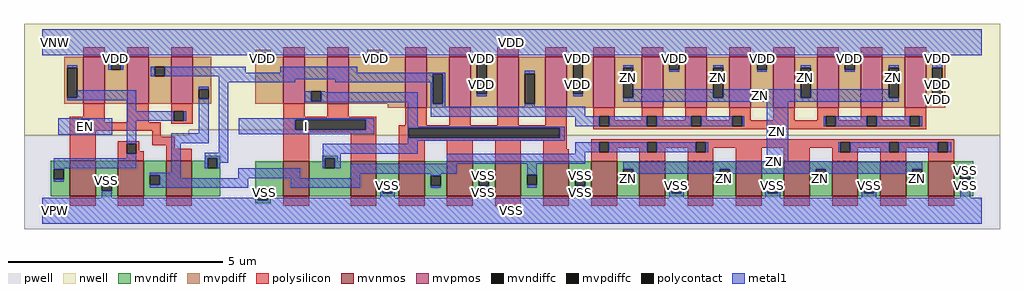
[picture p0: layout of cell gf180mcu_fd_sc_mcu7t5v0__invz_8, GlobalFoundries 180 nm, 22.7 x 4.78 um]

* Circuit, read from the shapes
.subckt gf180mcu_fd_sc_mcu7t5v0__invz_8 EN I ZN VDD VNW VPW VSS
XM1 VSS EN n1 VPW nfet_06v0 w=0.82u l=0.6u
XM2 n2 n1 VSS VPW nfet_06v0 w=0.82u l=0.6u
XM3 n3 EN n2 VPW nfet_06v0 w=0.82u l=0.6u
XM4 n4 I VSS VPW nfet_06v0 w=0.815u l=0.6u m=2
XM5 n2 n4 VSS VPW nfet_06v0 w=0.815u l=0.6u m=4
XM6 ZN n2 VSS VPW nfet_06v0 w=0.815u l=0.6u m=8
XM7 VDD EN n1 VNW pfet_06v0 w=1.095u l=0.5u
XM8 n3 EN VDD VNW pfet_06v0 w=1.095u l=0.5u
XM9 n2 n1 n3 VNW pfet_06v0 w=1.095u l=0.5u
XM10 n4 I VDD VNW pfet_06v0 w=1.095u l=0.5u m=2
XM11 n3 n4 VDD VNW pfet_06v0 w=1.18u l=0.5u m=4
XM12 ZN n3 VDD VNW pfet_06v0 w=1.18u l=0.5u m=8
.ends

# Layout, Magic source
magic
tech gf180mcuD
magscale 1 10
<< nwell >>
rect -86 377 4454 870
rect -86 352 681 377
rect 1447 352 4454 377
<< pwell >>
rect 681 352 1447 377
rect -86 -86 4454 352
<< mvnmos >>
rect 127 68 247 232
rect 351 68 471 232
rect 575 68 695 232
rect 1121 68 1241 231
rect 1433 68 1553 231
rect 1657 68 1777 231
rect 1881 68 2001 231
rect 2105 68 2225 231
rect 2329 68 2449 231
rect 2553 68 2673 231
rect 2777 68 2897 231
rect 3001 68 3121 231
rect 3225 68 3345 231
rect 3449 68 3569 231
rect 3673 68 3793 231
rect 3897 68 4017 231
rect 4121 68 4241 231
<< mvpmos >>
rect 190 497 290 716
rect 394 497 494 716
rect 598 497 698 716
rect 1121 497 1221 716
rect 1325 497 1425 716
rect 1687 480 1787 716
rect 1891 480 1991 716
rect 2115 480 2215 716
rect 2339 480 2439 716
rect 2563 480 2663 716
rect 2787 480 2887 716
rect 2991 480 3091 716
rect 3195 480 3295 716
rect 3399 480 3499 716
rect 3603 480 3703 716
rect 3807 480 3907 716
rect 4011 480 4111 716
<< mvndiff >>
rect 755 244 827 257
rect 755 232 768 244
rect 39 192 127 232
rect 39 146 52 192
rect 98 146 127 192
rect 39 68 127 146
rect 247 139 351 232
rect 247 93 276 139
rect 322 93 351 139
rect 247 68 351 93
rect 471 166 575 232
rect 471 120 500 166
rect 546 120 575 166
rect 471 68 575 120
rect 695 198 768 232
rect 814 198 827 244
rect 1301 244 1373 257
rect 1301 231 1314 244
rect 695 68 827 198
rect 989 95 1121 231
rect 989 49 1002 95
rect 1048 68 1121 95
rect 1241 198 1314 231
rect 1360 231 1373 244
rect 1360 198 1433 231
rect 1241 68 1433 198
rect 1553 127 1657 231
rect 1553 81 1582 127
rect 1628 81 1657 127
rect 1553 68 1657 81
rect 1777 163 1881 231
rect 1777 117 1806 163
rect 1852 117 1881 163
rect 1777 68 1881 117
rect 2001 162 2105 231
rect 2001 116 2030 162
rect 2076 116 2105 162
rect 2001 68 2105 116
rect 2225 167 2329 231
rect 2225 121 2254 167
rect 2300 121 2329 167
rect 2225 68 2329 121
rect 2449 162 2553 231
rect 2449 116 2478 162
rect 2524 116 2553 162
rect 2449 68 2553 116
rect 2673 192 2777 231
rect 2673 146 2702 192
rect 2748 146 2777 192
rect 2673 68 2777 146
rect 2897 127 3001 231
rect 2897 81 2926 127
rect 2972 81 3001 127
rect 2897 68 3001 81
rect 3121 192 3225 231
rect 3121 146 3150 192
rect 3196 146 3225 192
rect 3121 68 3225 146
rect 3345 127 3449 231
rect 3345 81 3374 127
rect 3420 81 3449 127
rect 3345 68 3449 81
rect 3569 192 3673 231
rect 3569 146 3598 192
rect 3644 146 3673 192
rect 3569 68 3673 146
rect 3793 127 3897 231
rect 3793 81 3822 127
rect 3868 81 3897 127
rect 3793 68 3897 81
rect 4017 192 4121 231
rect 4017 146 4046 192
rect 4092 146 4121 192
rect 4017 68 4121 146
rect 4241 192 4329 231
rect 4241 146 4270 192
rect 4316 146 4329 192
rect 4241 68 4329 146
rect 1048 49 1061 68
rect 989 36 1061 49
<< mvpdiff >>
rect 989 735 1061 748
rect 102 665 190 716
rect 102 525 115 665
rect 161 525 190 665
rect 102 497 190 525
rect 290 703 394 716
rect 290 657 319 703
rect 365 657 394 703
rect 290 497 394 657
rect 494 671 598 716
rect 494 625 523 671
rect 569 625 598 671
rect 494 497 598 625
rect 698 566 786 716
rect 698 520 727 566
rect 773 520 786 566
rect 698 497 786 520
rect 989 689 1002 735
rect 1048 716 1061 735
rect 1511 735 1583 748
rect 1511 716 1524 735
rect 1048 689 1121 716
rect 989 497 1121 689
rect 1221 556 1325 716
rect 1221 510 1250 556
rect 1296 510 1325 556
rect 1221 497 1325 510
rect 1425 689 1524 716
rect 1570 716 1583 735
rect 1570 689 1687 716
rect 1425 497 1687 689
rect 1607 480 1687 497
rect 1787 638 1891 716
rect 1787 498 1816 638
rect 1862 498 1891 638
rect 1787 480 1891 498
rect 1991 684 2115 716
rect 1991 544 2020 684
rect 2066 544 2115 684
rect 1991 480 2115 544
rect 2215 638 2339 716
rect 2215 498 2244 638
rect 2290 498 2339 638
rect 2215 480 2339 498
rect 2439 684 2563 716
rect 2439 544 2468 684
rect 2514 544 2563 684
rect 2439 480 2563 544
rect 2663 665 2787 716
rect 2663 525 2702 665
rect 2748 525 2787 665
rect 2663 480 2787 525
rect 2887 703 2991 716
rect 2887 657 2916 703
rect 2962 657 2991 703
rect 2887 480 2991 657
rect 3091 665 3195 716
rect 3091 525 3120 665
rect 3166 525 3195 665
rect 3091 480 3195 525
rect 3295 703 3399 716
rect 3295 657 3324 703
rect 3370 657 3399 703
rect 3295 480 3399 657
rect 3499 665 3603 716
rect 3499 525 3528 665
rect 3574 525 3603 665
rect 3499 480 3603 525
rect 3703 703 3807 716
rect 3703 657 3732 703
rect 3778 657 3807 703
rect 3703 480 3807 657
rect 3907 665 4011 716
rect 3907 525 3936 665
rect 3982 525 4011 665
rect 3907 480 4011 525
rect 4111 665 4199 716
rect 4111 525 4140 665
rect 4186 525 4199 665
rect 4111 480 4199 525
<< mvndiffc >>
rect 52 146 98 192
rect 276 93 322 139
rect 500 120 546 166
rect 768 198 814 244
rect 1002 49 1048 95
rect 1314 198 1360 244
rect 1582 81 1628 127
rect 1806 117 1852 163
rect 2030 116 2076 162
rect 2254 121 2300 167
rect 2478 116 2524 162
rect 2702 146 2748 192
rect 2926 81 2972 127
rect 3150 146 3196 192
rect 3374 81 3420 127
rect 3598 146 3644 192
rect 3822 81 3868 127
rect 4046 146 4092 192
rect 4270 146 4316 192
<< mvpdiffc >>
rect 115 525 161 665
rect 319 657 365 703
rect 523 625 569 671
rect 727 520 773 566
rect 1002 689 1048 735
rect 1250 510 1296 556
rect 1524 689 1570 735
rect 1816 498 1862 638
rect 2020 544 2066 684
rect 2244 498 2290 638
rect 2468 544 2514 684
rect 2702 525 2748 665
rect 2916 657 2962 703
rect 3120 525 3166 665
rect 3324 657 3370 703
rect 3528 525 3574 665
rect 3732 657 3778 703
rect 3936 525 3982 665
rect 4140 525 4186 665
<< polysilicon >>
rect 190 716 290 760
rect 394 716 494 760
rect 598 716 698 760
rect 1121 716 1221 760
rect 1325 716 1425 760
rect 1687 716 1787 760
rect 1891 716 1991 760
rect 2115 716 2215 760
rect 2339 716 2439 760
rect 2563 716 2663 760
rect 2787 716 2887 760
rect 2991 716 3091 760
rect 3195 716 3295 760
rect 3399 716 3499 760
rect 3603 716 3703 760
rect 3807 716 3907 760
rect 4011 716 4111 760
rect 190 437 290 497
rect 127 424 290 437
rect 127 378 175 424
rect 221 412 290 424
rect 394 412 494 497
rect 598 464 698 497
rect 598 418 611 464
rect 657 418 698 464
rect 221 378 550 412
rect 598 405 698 418
rect 1121 437 1221 497
rect 1325 437 1425 497
rect 1121 424 1553 437
rect 127 372 550 378
rect 127 232 247 372
rect 510 345 550 372
rect 1121 378 1176 424
rect 1504 378 1553 424
rect 1687 398 1787 480
rect 1891 398 1991 480
rect 2115 398 2215 480
rect 2339 398 2439 480
rect 1121 365 1553 378
rect 351 311 450 324
rect 351 265 391 311
rect 437 276 450 311
rect 510 305 615 345
rect 575 288 615 305
rect 437 265 471 276
rect 351 232 471 265
rect 575 232 695 288
rect 1121 231 1241 365
rect 127 24 247 68
rect 351 24 471 68
rect 575 24 695 68
rect 1433 231 1553 365
rect 1657 385 2439 398
rect 1657 339 1701 385
rect 2405 339 2439 385
rect 2563 439 2663 480
rect 2563 393 2590 439
rect 2636 420 2663 439
rect 2787 439 2887 480
rect 2787 420 2811 439
rect 2636 393 2811 420
rect 2857 420 2887 439
rect 2991 439 3091 480
rect 2991 420 3018 439
rect 2857 393 3018 420
rect 3064 420 3091 439
rect 3195 439 3295 480
rect 3195 420 3208 439
rect 3064 393 3208 420
rect 3254 420 3295 439
rect 3399 420 3499 480
rect 3603 439 3703 480
rect 3603 420 3644 439
rect 3254 393 3644 420
rect 3690 420 3703 439
rect 3807 439 3907 480
rect 3807 420 3835 439
rect 3690 393 3835 420
rect 3881 420 3907 439
rect 4011 439 4111 480
rect 4011 420 4035 439
rect 3881 393 4035 420
rect 4081 393 4111 439
rect 2563 380 4111 393
rect 1657 326 2439 339
rect 1657 231 1777 326
rect 1881 231 2001 326
rect 2105 231 2225 326
rect 2329 287 2439 326
rect 2553 319 4241 332
rect 2329 231 2449 287
rect 2553 273 2589 319
rect 2635 292 2812 319
rect 2635 273 2673 292
rect 2553 231 2673 273
rect 2777 273 2812 292
rect 2858 292 3039 319
rect 2858 273 2897 292
rect 2777 231 2897 273
rect 3001 273 3039 292
rect 3085 292 3712 319
rect 3085 273 3121 292
rect 3001 231 3121 273
rect 3225 231 3345 292
rect 3449 231 3569 292
rect 3673 273 3712 292
rect 3758 292 3938 319
rect 3758 273 3793 292
rect 3673 231 3793 273
rect 3897 273 3938 292
rect 3984 292 4164 319
rect 3984 273 4017 292
rect 3897 231 4017 273
rect 4121 273 4164 292
rect 4210 273 4241 319
rect 4121 231 4241 273
rect 1121 24 1241 68
rect 1433 24 1553 68
rect 1657 24 1777 68
rect 1881 24 2001 68
rect 2105 24 2225 68
rect 2329 24 2449 68
rect 2553 24 2673 68
rect 2777 24 2897 68
rect 3001 24 3121 68
rect 3225 24 3345 68
rect 3449 24 3569 68
rect 3673 24 3793 68
rect 3897 24 4017 68
rect 4121 24 4241 68
<< polycontact >>
rect 175 378 221 424
rect 611 418 657 464
rect 1176 378 1504 424
rect 391 265 437 311
rect 1701 339 2405 385
rect 2590 393 2636 439
rect 2811 393 2857 439
rect 3018 393 3064 439
rect 3208 393 3254 439
rect 3644 393 3690 439
rect 3835 393 3881 439
rect 4035 393 4081 439
rect 2589 273 2635 319
rect 2812 273 2858 319
rect 3039 273 3085 319
rect 3712 273 3758 319
rect 3938 273 3984 319
rect 4164 273 4210 319
<< metal1 >>
rect 0 735 4368 844
rect 0 724 1002 735
rect 307 703 376 724
rect 115 665 161 676
rect 307 657 319 703
rect 365 657 376 703
rect 991 689 1002 724
rect 1048 724 1524 735
rect 1048 689 1059 724
rect 1511 689 1524 724
rect 1570 724 4368 735
rect 1570 689 1583 724
rect 2020 684 2066 724
rect 504 625 523 671
rect 569 643 945 671
rect 1105 643 1465 671
rect 569 638 1873 643
rect 569 625 1816 638
rect 819 611 1816 625
rect 819 597 1175 611
rect 1362 597 1816 611
rect 727 566 773 578
rect 161 525 437 560
rect 115 514 437 525
rect 391 464 437 514
rect 74 424 325 430
rect 74 378 175 424
rect 221 378 325 424
rect 74 354 325 378
rect 391 418 611 464
rect 657 418 669 464
rect 391 311 437 418
rect 727 361 773 520
rect 391 245 437 265
rect 52 198 437 245
rect 598 315 773 361
rect 52 192 98 198
rect 598 177 644 315
rect 819 269 865 597
rect 1221 510 1250 556
rect 1296 551 1316 556
rect 1296 510 1746 551
rect 1221 505 1746 510
rect 914 424 1544 430
rect 914 378 1176 424
rect 1504 378 1544 424
rect 914 357 1544 378
rect 1700 391 1746 505
rect 1805 498 1816 597
rect 1862 498 1873 638
rect 2468 684 2514 724
rect 2020 533 2066 544
rect 2244 638 2290 652
rect 1805 483 1873 498
rect 2916 703 2962 724
rect 2468 533 2514 544
rect 2701 665 2749 676
rect 2701 525 2702 665
rect 2748 566 2749 665
rect 3324 703 3370 724
rect 2916 646 2962 657
rect 3120 665 3166 676
rect 2748 525 3120 566
rect 3732 703 3778 724
rect 3324 646 3370 657
rect 3528 665 3574 676
rect 3166 525 3528 566
rect 3732 646 3778 657
rect 3936 665 3982 676
rect 3574 525 3936 566
rect 2701 506 3982 525
rect 4140 665 4186 724
rect 4140 506 4186 525
rect 2244 483 2290 498
rect 1805 439 2524 483
rect 1805 437 2590 439
rect 2478 393 2590 437
rect 2636 393 2811 439
rect 2857 393 3018 439
rect 3064 393 3208 439
rect 3254 393 3265 439
rect 2478 392 3265 393
rect 1700 385 2429 391
rect 1700 339 1701 385
rect 2405 339 2429 385
rect 1700 325 2429 339
rect 1700 311 1746 325
rect 755 244 865 269
rect 755 198 768 244
rect 814 223 865 244
rect 1303 265 1746 311
rect 2478 273 2589 319
rect 2635 273 2812 319
rect 2858 273 3039 319
rect 3085 273 3096 319
rect 2478 265 2524 273
rect 1303 244 1387 265
rect 814 198 827 223
rect 1303 198 1314 244
rect 1360 198 1387 244
rect 1881 219 2524 265
rect 3370 231 3468 506
rect 3633 393 3644 439
rect 3690 393 3835 439
rect 3881 393 4035 439
rect 4081 393 4092 439
rect 3633 392 4092 393
rect 3701 273 3712 319
rect 3758 273 3938 319
rect 3984 273 4164 319
rect 4210 273 4228 319
rect 3148 227 3663 231
rect 500 166 644 177
rect 52 135 98 146
rect 276 139 322 152
rect 546 152 644 166
rect 910 152 1200 198
rect 1433 173 1927 219
rect 1433 152 1479 173
rect 546 120 956 152
rect 500 106 956 120
rect 1154 106 1479 152
rect 1806 163 1852 173
rect 276 60 322 93
rect 1002 95 1059 106
rect 0 49 1002 60
rect 1048 60 1059 95
rect 1571 81 1582 127
rect 1628 81 1639 127
rect 1806 106 1852 117
rect 2030 162 2076 173
rect 1571 60 1639 81
rect 2030 60 2076 116
rect 2254 167 2300 219
rect 2702 192 4092 227
rect 2254 106 2300 121
rect 2478 162 2524 173
rect 2748 173 3150 192
rect 2702 126 2748 146
rect 3196 173 3598 192
rect 3150 127 3196 146
rect 3644 173 4046 192
rect 3598 127 3644 146
rect 4046 127 4092 146
rect 4270 192 4316 203
rect 2478 60 2524 116
rect 2915 81 2926 127
rect 2972 81 2983 127
rect 2915 60 2983 81
rect 3363 81 3374 127
rect 3420 81 3431 127
rect 3363 60 3431 81
rect 3811 81 3822 127
rect 3868 81 3879 127
rect 3811 60 3879 81
rect 4270 60 4316 146
rect 1048 49 4368 60
rect 0 -60 4368 49
<< labels >>
flabel metal1 s 0 724 4368 844 0 FreeSans 400 0 0 0 VDD
port 4 nsew power bidirectional abutment
flabel metal1 s 4270 173 4316 203 0 FreeSans 400 0 0 0 VSS
port 7 nsew ground bidirectional abutment
flabel metal1 s 3936 566 3982 676 0 FreeSans 400 0 0 0 ZN
port 3 nsew default output
flabel metal1 s 74 354 325 430 0 FreeSans 400 0 0 0 EN
port 1 nsew default input
flabel metal1 s 914 357 1544 430 0 FreeSans 400 0 0 0 I
port 2 nsew default input
flabel nwell s 10 734 110 834 0 FreeSans 400 0 0 0 VNW
port 5 nsew power bidirectional
flabel pwell s 10 -50 110 50 0 FreeSans 400 0 0 0 VPW
port 6 nsew ground bidirectional
rlabel metal1 s 3528 566 3574 676 1 ZN
port 3 nsew default output
rlabel metal1 s 3120 566 3166 676 1 ZN
port 3 nsew default output
rlabel metal1 s 2701 566 2749 676 1 ZN
port 3 nsew default output
rlabel metal1 s 2701 506 3982 566 1 ZN
port 3 nsew default output
rlabel metal1 s 3370 231 3468 506 1 ZN
port 3 nsew default output
rlabel metal1 s 3148 227 3663 231 1 ZN
port 3 nsew default output
rlabel metal1 s 2702 173 4092 227 1 ZN
port 3 nsew default output
rlabel metal1 s 4046 127 4092 173 1 ZN
port 3 nsew default output
rlabel metal1 s 3598 127 3644 173 1 ZN
port 3 nsew default output
rlabel metal1 s 3150 127 3196 173 1 ZN
port 3 nsew default output
rlabel metal1 s 2702 127 2748 173 1 ZN
port 3 nsew default output
rlabel metal1 s 2702 126 2748 127 1 ZN
port 3 nsew default output
rlabel metal1 s 4140 689 4186 724 1 VDD
port 4 nsew power bidirectional abutment
rlabel metal1 s 3732 689 3778 724 1 VDD
port 4 nsew power bidirectional abutment
rlabel metal1 s 3324 689 3370 724 1 VDD
port 4 nsew power bidirectional abutment
rlabel metal1 s 2916 689 2962 724 1 VDD
port 4 nsew power bidirectional abutment
rlabel metal1 s 2468 689 2514 724 1 VDD
port 4 nsew power bidirectional abutment
rlabel metal1 s 2020 689 2066 724 1 VDD
port 4 nsew power bidirectional abutment
rlabel metal1 s 1511 689 1583 724 1 VDD
port 4 nsew power bidirectional abutment
rlabel metal1 s 991 689 1059 724 1 VDD
port 4 nsew power bidirectional abutment
rlabel metal1 s 307 689 376 724 1 VDD
port 4 nsew power bidirectional abutment
rlabel metal1 s 4140 657 4186 689 1 VDD
port 4 nsew power bidirectional abutment
rlabel metal1 s 3732 657 3778 689 1 VDD
port 4 nsew power bidirectional abutment
rlabel metal1 s 3324 657 3370 689 1 VDD
port 4 nsew power bidirectional abutment
rlabel metal1 s 2916 657 2962 689 1 VDD
port 4 nsew power bidirectional abutment
rlabel metal1 s 2468 657 2514 689 1 VDD
port 4 nsew power bidirectional abutment
rlabel metal1 s 2020 657 2066 689 1 VDD
port 4 nsew power bidirectional abutment
rlabel metal1 s 307 657 376 689 1 VDD
port 4 nsew power bidirectional abutment
rlabel metal1 s 4140 646 4186 657 1 VDD
port 4 nsew power bidirectional abutment
rlabel metal1 s 3732 646 3778 657 1 VDD
port 4 nsew power bidirectional abutment
rlabel metal1 s 3324 646 3370 657 1 VDD
port 4 nsew power bidirectional abutment
rlabel metal1 s 2916 646 2962 657 1 VDD
port 4 nsew power bidirectional abutment
rlabel metal1 s 2468 646 2514 657 1 VDD
port 4 nsew power bidirectional abutment
rlabel metal1 s 2020 646 2066 657 1 VDD
port 4 nsew power bidirectional abutment
rlabel metal1 s 4140 533 4186 646 1 VDD
port 4 nsew power bidirectional abutment
rlabel metal1 s 2468 533 2514 646 1 VDD
port 4 nsew power bidirectional abutment
rlabel metal1 s 2020 533 2066 646 1 VDD
port 4 nsew power bidirectional abutment
rlabel metal1 s 4140 506 4186 533 1 VDD
port 4 nsew power bidirectional abutment
rlabel metal1 s 4270 152 4316 173 1 VSS
port 7 nsew ground bidirectional abutment
rlabel metal1 s 2478 152 2524 173 1 VSS
port 7 nsew ground bidirectional abutment
rlabel metal1 s 2030 152 2076 173 1 VSS
port 7 nsew ground bidirectional abutment
rlabel metal1 s 4270 127 4316 152 1 VSS
port 7 nsew ground bidirectional abutment
rlabel metal1 s 2478 127 2524 152 1 VSS
port 7 nsew ground bidirectional abutment
rlabel metal1 s 2030 127 2076 152 1 VSS
port 7 nsew ground bidirectional abutment
rlabel metal1 s 276 127 322 152 1 VSS
port 7 nsew ground bidirectional abutment
rlabel metal1 s 4270 106 4316 127 1 VSS
port 7 nsew ground bidirectional abutment
rlabel metal1 s 3811 106 3879 127 1 VSS
port 7 nsew ground bidirectional abutment
rlabel metal1 s 3363 106 3431 127 1 VSS
port 7 nsew ground bidirectional abutment
rlabel metal1 s 2915 106 2983 127 1 VSS
port 7 nsew ground bidirectional abutment
rlabel metal1 s 2478 106 2524 127 1 VSS
port 7 nsew ground bidirectional abutment
rlabel metal1 s 2030 106 2076 127 1 VSS
port 7 nsew ground bidirectional abutment
rlabel metal1 s 1571 106 1639 127 1 VSS
port 7 nsew ground bidirectional abutment
rlabel metal1 s 276 106 322 127 1 VSS
port 7 nsew ground bidirectional abutment
rlabel metal1 s 4270 60 4316 106 1 VSS
port 7 nsew ground bidirectional abutment
rlabel metal1 s 3811 60 3879 106 1 VSS
port 7 nsew ground bidirectional abutment
rlabel metal1 s 3363 60 3431 106 1 VSS
port 7 nsew ground bidirectional abutment
rlabel metal1 s 2915 60 2983 106 1 VSS
port 7 nsew ground bidirectional abutment
rlabel metal1 s 2478 60 2524 106 1 VSS
port 7 nsew ground bidirectional abutment
rlabel metal1 s 2030 60 2076 106 1 VSS
port 7 nsew ground bidirectional abutment
rlabel metal1 s 1571 60 1639 106 1 VSS
port 7 nsew ground bidirectional abutment
rlabel metal1 s 1002 60 1059 106 1 VSS
port 7 nsew ground bidirectional abutment
rlabel metal1 s 276 60 322 106 1 VSS
port 7 nsew ground bidirectional abutment
rlabel metal1 s 0 -60 4368 60 1 VSS
port 7 nsew ground bidirectional abutment
<< properties >>
string FIXED_BBOX 0 0 4368 784
string GDS_END 551274
string GDS_FILE $PDKPATH/libs.ref/gf180mcu_fd_sc_mcu7t5v0/gds/gf180mcu_fd_sc_mcu7t5v0.gds
string GDS_START 541032
string LEFclass core
string LEFsite GF018hv5v_mcu_sc7
string LEFsymmetry X Y
<< end >>
